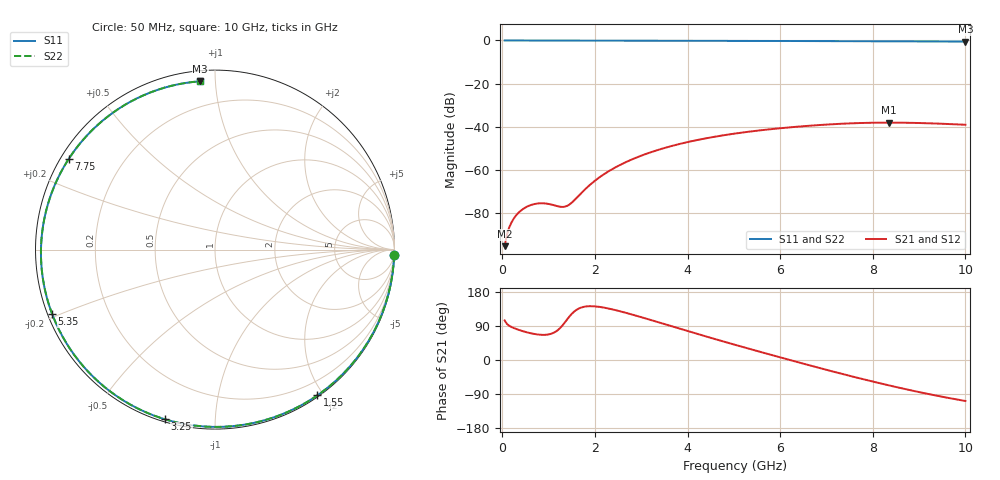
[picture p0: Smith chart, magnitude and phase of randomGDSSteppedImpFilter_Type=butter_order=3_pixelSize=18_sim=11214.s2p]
! freq	dB(S11)	phase(S11)	dB(S12)	phase(S12)
!  dB(S21)	phase(S21)	dB(S22)	phase(S22)
!S-par simulation data
#  GHz  S  DB  R 50
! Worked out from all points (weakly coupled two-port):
!   200 points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, 50 MHz to 10 GHz, reference 50 ohm
!   highest |S21| = -38.13 dB at 8.35 GHz (marker M1); lowest = -95.5 dB at 50 MHz (marker M2)
!   lowest |S11| = -0.5 dB at 10 GHz (marker M3), VSWR 33.09, Z = 2.78 + j45.7 ohm
!   |S11| at or under -10 dB: nowhere
!   |S22| runs from -0.5 to 0.0 dB; largest |S21 - S12| = 0
!   S11 on the Smith chart (normalised r, x): 50 MHz: 2, -65; 1.55 GHz: 0.02, -1.92; 3.25 GHz: 0.01, -0.75; 5.35 GHz: 0.01, -0.19; 7.75 GHz: 0.02, +0.28; 10 GHz: 0.06, +0.91
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0.05  -0.01 -1.8  -95.46 104.5  -95.46 104.5  -0.01 -1.8
0.35  -0.02 -12.8  -79.96 79.7  -79.96 79.7  -0.02 -12.8
0.55  -0.03 -20.0  -76.96 72.4  -76.96 72.4  -0.03 -20.0
0.8  -0.04 -29.0  -75.59 66.8  -75.59 66.8  -0.04 -29.0
1.35  -0.06 -48.2  -77.14 98.9  -77.14 98.9  -0.06 -48.2
1.45  -0.06 -51.6  -76.13 114.8  -76.13 114.8  -0.06 -51.6
1.55  -0.07 -54.9  -74.26 127.6  -74.26 127.6  -0.07 -54.9
1.75  -0.08 -61.5  -69.86 140.0  -69.86 140.0  -0.08 -61.5
2.05  -0.09 -71.2  -64.28 140.9  -64.28 140.9  -0.09 -71.1
2.4  -0.10 -82.0  -59.41 132.9  -59.41 132.9  -0.10 -82.0
2.8  -0.11 -93.8  -55.20 120.1  -55.20 120.1  -0.11 -93.8
3.25  -0.13 -106.4  -51.57 104.0  -51.57 104.0  -0.12 -106.4
3.4  -0.13 -110.5  -50.55 98.6  -50.55 98.6  -0.13 -110.5
4.25  -0.16 -132.4  -46.03 67.5  -46.03 67.5  -0.16 -132.3
5.05  -0.20 -151.5  -43.13 39.2  -43.13 39.2  -0.20 -151.4
5.35  -0.21 -158.4  -42.28 28.9  -42.28 28.9  -0.21 -158.3
6  -0.25 -173.0  -40.74 7.0  -40.74 7.0  -0.25 -173.0
6.7  -0.29 171.5  -39.47 -16.2  -39.47 -16.2  -0.29 171.5
7.75  -0.36 148.2  -38.31 -49.4  -38.31 -49.4  -0.36 148.2
8.35  -0.41 134.6  -38.13 -67.0  -38.13 -67.0  -0.41 134.6
9.2  -0.47 114.6  -38.44 -89.8  -38.44 -89.8  -0.47 114.6
10  -0.53 95.0  -39.12 -108.1  -39.12 -108.1  -0.53 95.0
